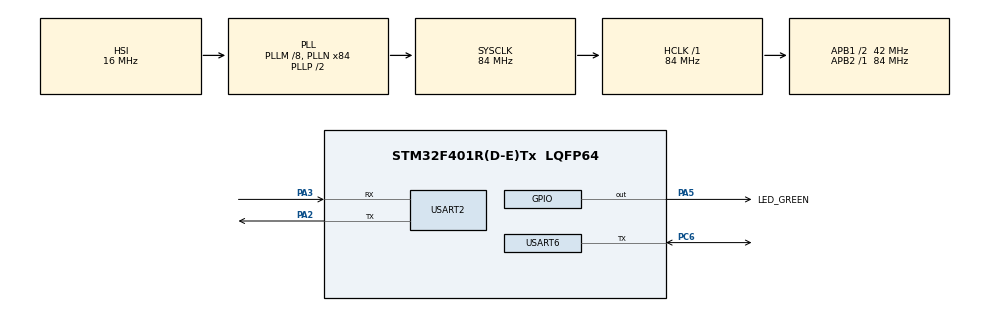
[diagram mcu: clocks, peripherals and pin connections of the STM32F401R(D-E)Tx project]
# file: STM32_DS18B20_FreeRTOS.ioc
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Dma.Request0=USART2_RX
Dma.Request1=USART2_TX
Dma.Request2=USART6_RX
Dma.Request3=USART6_TX
Dma.USART2_RX.0.Direction=DMA_PERIPH_TO_MEMORY
Dma.USART2_RX.0.FIFOMode=DMA_FIFOMODE_DISABLE
Dma.USART2_RX.0.Instance=DMA1_Stream5
Dma.USART2_RX.0.MemDataAlignment=DMA_MDATAALIGN_BYTE
Dma.USART2_RX.0.MemInc=DMA_MINC_ENABLE
Dma.USART2_RX.0.Mode=DMA_CIRCULAR
Dma.USART2_RX.0.PeriphDataAlignment=DMA_PDATAALIGN_BYTE
Dma.USART2_RX.0.PeriphInc=DMA_PINC_DISABLE
Dma.USART2_RX.0.Priority=DMA_PRIORITY_LOW
Dma.USART2_TX.1.Direction=DMA_MEMORY_TO_PERIPH
Dma.USART2_TX.1.FIFOMode=DMA_FIFOMODE_DISABLE
Dma.USART2_TX.1.Instance=DMA1_Stream6
Dma.USART2_TX.1.MemDataAlignment=DMA_MDATAALIGN_BYTE
Dma.USART2_TX.1.MemInc=DMA_MINC_ENABLE
Dma.USART2_TX.1.Mode=DMA_NORMAL
Dma.USART2_TX.1.PeriphDataAlignment=DMA_PDATAALIGN_BYTE
Dma.USART2_TX.1.PeriphInc=DMA_PINC_DISABLE
Dma.USART2_TX.1.Priority=DMA_PRIORITY_LOW
Dma.USART6_RX.2.Direction=DMA_PERIPH_TO_MEMORY
Dma.USART6_RX.2.FIFOMode=DMA_FIFOMODE_DISABLE
Dma.USART6_RX.2.Instance=DMA2_Stream1
Dma.USART6_RX.2.MemDataAlignment=DMA_MDATAALIGN_BYTE
Dma.USART6_RX.2.MemInc=DMA_MINC_ENABLE
Dma.USART6_RX.2.Mode=DMA_NORMAL
Dma.USART6_RX.2.PeriphDataAlignment=DMA_PDATAALIGN_BYTE
Dma.USART6_RX.2.PeriphInc=DMA_PINC_DISABLE
Dma.USART6_RX.2.Priority=DMA_PRIORITY_LOW
Dma.USART6_TX.3.Direction=DMA_MEMORY_TO_PERIPH
Dma.USART6_TX.3.FIFOMode=DMA_FIFOMODE_DISABLE
Dma.USART6_TX.3.Instance=DMA2_Stream6
Dma.USART6_TX.3.MemDataAlignment=DMA_MDATAALIGN_BYTE
Dma.USART6_TX.3.MemInc=DMA_MINC_ENABLE
Dma.USART6_TX.3.Mode=DMA_NORMAL
Dma.USART6_TX.3.PeriphDataAlignment=DMA_PDATAALIGN_BYTE
Dma.USART6_TX.3.PeriphInc=DMA_PINC_DISABLE
Dma.USART6_TX.3.Priority=DMA_PRIORITY_LOW
FREERTOS.Tasks01=defaultTask,0,128,StartDefaultTask,Default,NULL,Dynamic,NULL,NULL
Mcu.Family=STM32F4
Mcu.Name=STM32F401R(D-E)Tx
Mcu.Package=LQFP64
NVIC.DMA1_Stream5_IRQn=true\:5\:0\:false\:false\:true\:true\:false\:true
NVIC.DMA1_Stream6_IRQn=true\:5\:0\:false\:false\:true\:true\:false\:true
NVIC.DMA2_Stream1_IRQn=true\:5\:0\:false\:false\:true\:true\:false\:true
NVIC.DMA2_Stream6_IRQn=true\:5\:0\:false\:false\:true\:true\:false\:true
NVIC.PriorityGroup=NVIC_PRIORITYGROUP_4
NVIC.USART2_IRQn=true\:5\:0\:false\:false\:true\:true\:true\:true
PA13.Mode=Serial_Wire
PA13.Signal=SYS_JTMS-SWDIO
PA14.Mode=Serial_Wire
PA14.Signal=SYS_JTCK-SWCLK
PA2.Mode=Asynchronous
PA2.Signal=USART2_TX
PA3.Mode=Asynchronous
PA3.Signal=USART2_RX
PA5.GPIO_Label=LED_GREEN
PA5.Signal=GPIO_Output
PC6.Mode=Half_duplex(single_wire_mode)
PC6.Signal=USART6_TX
ProjectManager.HeapSize=0x200
ProjectManager.StackSize=0x400
ProjectManager.TargetToolchain=STM32CubeIDE
RCC.48MHZClocksFreq_Value=42000000
RCC.AHBFreq_Value=84000000
RCC.APB1CLKDivider=RCC_HCLK_DIV2
RCC.APB1Freq_Value=42000000
RCC.APB1TimFreq_Value=84000000
RCC.APB2Freq_Value=84000000
RCC.APB2TimFreq_Value=84000000
RCC.CortexFreq_Value=84000000
RCC.HCLKFreq_Value=84000000
RCC.HSE_VALUE=25000000
RCC.HSI_VALUE=16000000
RCC.LSE_VALUE=32768
RCC.PLLM=8
RCC.PLLN=84
RCC.SYSCLKFreq_VALUE=84000000
RCC.SYSCLKSource=RCC_SYSCLKSOURCE_PLLCLK
RCC.VCOOutputFreq_Value=168000000
USART2.VirtualMode=VM_ASYNC
USART6.VirtualMode=VM_ASYNC
VP_FREERTOS_VS_CMSIS_V1.Mode=CMSIS_V1
board=custom

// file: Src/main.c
/* USER CODE BEGIN Header */
/**
  ******************************************************************************
  * @file           : main.c
  * @brief          : Main program body
  ******************************************************************************
  * @attention
  *
  * <h2><center>&copy; Copyright (c) 2019 STMicroelectronics.
  * All rights reserved.</center></h2>
  *
  * This software component is licensed by ST under BSD 3-Clause license,
  * the "License"; You may not use this file except in compliance with the
  * License. You may obtain a copy of the License at:
  *                        opensource.org/licenses/BSD-3-Clause
  *
  ******************************************************************************
  */
/* USER CODE END Header */

#include "main.h"
#include "cmsis_os.h"
#include "dma.h"
#include "usart.h"
#include "gpio.h"

/* USER CODE BEGIN PD */
#define      BLINKY_TASK_STACK_SIZE 256u
#define      BLINKY_TASK_PRIORITY   3u
TaskHandle_t Blinky_Task_Handle;
StackType_t  Blinky_Task_Stack[BLINKY_TASK_STACK_SIZE];
StaticTask_t Blinky_Task_TCB;
static void  Blinky_Task();
/* USER CODE END PD */

void SystemClock_Config(void);
void MX_FREERTOS_Init(void);
/* USER CODE BEGIN PFP */

extern void DS18B20_Thread_Add();
extern void Print_Thread_Add();

/* USER CODE END PFP */

/* USER CODE BEGIN 0 */
void Blinky_Task()
    {

    while(1)
	{
	HAL_GPIO_TogglePin(LED_GREEN_GPIO_Port, LED_GREEN_Pin);
	vTaskDelay(100);
	}

    }
/* USER CODE END 0 */

int main(void)
{

  /* MCU Configuration--------------------------------------------------------*/

  /* Reset of all peripherals, Initializes the Flash interface and the Systick. */
  HAL_Init();

  /* Configure the system clock */
  SystemClock_Config();

  /* Initialize all configured peripherals */
  MX_GPIO_Init();
  MX_DMA_Init();
  MX_USART2_UART_Init();
  MX_USART6_UART_Init();
  /* USER CODE BEGIN 2 */

  Print_Thread_Add();
  DS18B20_Thread_Add();

  Blinky_Task_Handle = xTaskCreateStatic(Blinky_Task,
  	    "Blinky_Task",
  	    BLINKY_TASK_STACK_SIZE,
  	    NULL,
  	    BLINKY_TASK_PRIORITY,
  	    Blinky_Task_Stack,
  	    &Blinky_Task_TCB);

  /* USER CODE END 2 */

  /* Call init function for freertos objects (in freertos.c) */
  MX_FREERTOS_Init();

  /* Start scheduler */
  osKernelStart();

  /* We should never get here as control is now taken by the scheduler */

  /* Infinite loop */
  while (1)
  {

  }
}

void SystemClock_Config(void)
{
  RCC_OscInitTypeDef RCC_OscInitStruct = {0};
  RCC_ClkInitTypeDef RCC_ClkInitStruct = {0};

  /** Configure the main internal regulator output voltage
  */
  __HAL_RCC_PWR_CLK_ENABLE();
  __HAL_PWR_VOLTAGESCALING_CONFIG(PWR_REGULATOR_VOLTAGE_SCALE2);
  /** Initializes the CPU, AHB and APB busses clocks
  */
  RCC_OscInitStruct.OscillatorType = RCC_OSCILLATORTYPE_HSI;
  RCC_OscInitStruct.HSIState = RCC_HSI_ON;
  RCC_OscInitStruct.HSICalibrationValue = RCC_HSICALIBRATION_DEFAULT;
  RCC_OscInitStruct.PLL.PLLState = RCC_PLL_ON;
  RCC_OscInitStruct.PLL.PLLSource = RCC_PLLSOURCE_HSI;
  RCC_OscInitStruct.PLL.PLLM = 8;
  RCC_OscInitStruct.PLL.PLLN = 84;
  RCC_OscInitStruct.PLL.PLLP = RCC_PLLP_DIV2;
  RCC_OscInitStruct.PLL.PLLQ = 4;
  if (HAL_RCC_OscConfig(&RCC_OscInitStruct) != HAL_OK)
  {
    Error_Handler();
  }
  /** Initializes the CPU, AHB and APB busses clocks
  */
  RCC_ClkInitStruct.ClockType = RCC_CLOCKTYPE_HCLK|RCC_CLOCKTYPE_SYSCLK
                              |RCC_CLOCKTYPE_PCLK1|RCC_CLOCKTYPE_PCLK2;
  RCC_ClkInitStruct.SYSCLKSource = RCC_SYSCLKSOURCE_PLLCLK;
  RCC_ClkInitStruct.AHBCLKDivider = RCC_SYSCLK_DIV1;
  RCC_ClkInitStruct.APB1CLKDivider = RCC_HCLK_DIV2;
  RCC_ClkInitStruct.APB2CLKDivider = RCC_HCLK_DIV1;

  if (HAL_RCC_ClockConfig(&RCC_ClkInitStruct, FLASH_LATENCY_2) != HAL_OK)
  {
    Error_Handler();
  }
}

void Error_Handler(void)
{
}

/************************ (C) COPYRIGHT STMicroelectronics *****END OF FILE****/
